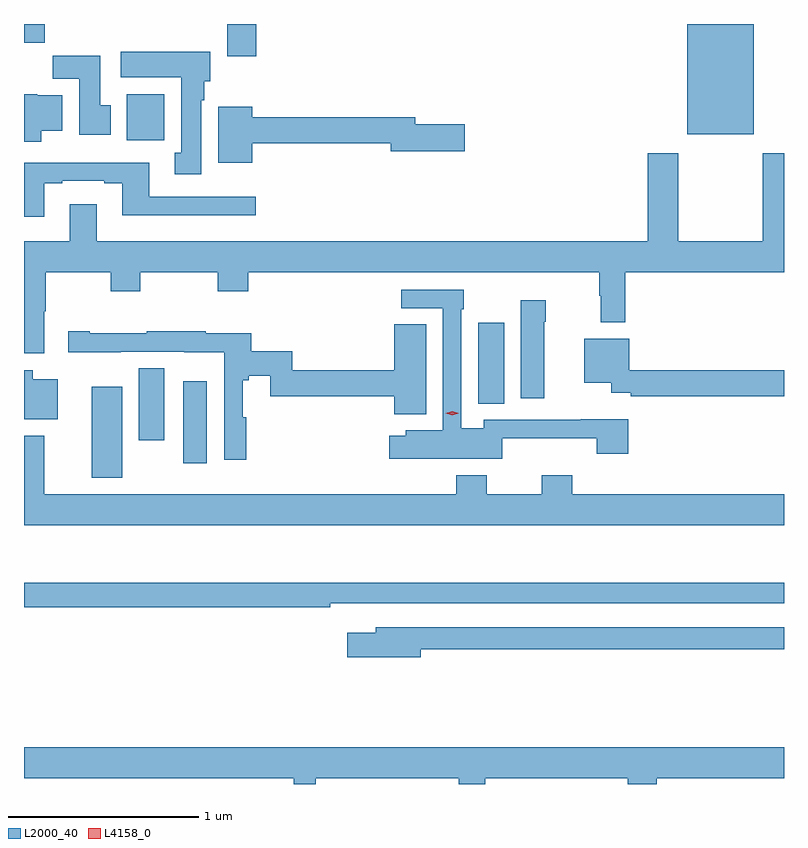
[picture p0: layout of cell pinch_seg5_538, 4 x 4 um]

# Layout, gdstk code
import gdstk
lib = gdstk.Library(unit=1e-6, precision=1e-09)
def R(c, l, rs):  # rectangles x0, y0, x1, y1
    for r in rs: c.add(gdstk.rectangle(r[:2], r[2:], *l))
def P(c, l, *ps):  # polygons
    for p in ps: c.add(gdstk.Polygon(p, *l))
L2000_40 = (2000, 40)
L4158_0 = (4158, 0)

pinch_seg5_538 = lib.new_cell('pinch_seg5_538')
R(pinch_seg5_538, L2000_40, [(952.313,849.018,952.474,849.499), (952.796,849.096,952.918,849.526), (952.562,849.216,952.696,849.596), (954.347,849.409,954.484,849.835), (952.499,850.796,952.696,851.038), (955.448,850.826,955.798,851.407), (953.027,851.238,953.18,851.407), (951.957,851.308,952.067,851.407)])
P(pinch_seg5_538, L2000_40, [(952.891,851.006),(952.906,851.006),(952.906,851.106),(952.936,851.106),(952.936,851.26),(952.467,851.26),(952.467,851.126),(952.784,851.126),(952.784,850.73),(952.751,850.73),(952.751,850.617),(952.891,850.617)],
  [(952.414,850.98),(952.357,850.98),(952.357,851.239),(952.108,851.239),(952.108,851.12),(952.247,851.12),(952.247,850.824),(952.414,850.824)],
  [(952.048,850.844),(952.159,850.844),(952.159,851.032),(952.026,851.032),(952.026,851.038),(951.957,851.038),(951.957,850.787),(952.048,850.787)],
  [(953.158,850.78),(953.888,850.78),(953.888,850.738),(954.277,850.738),(954.277,850.88),(954.016,850.88),(954.016,850.916),(953.158,850.916),(953.158,850.972),(952.979,850.972),(952.979,850.676),(953.158,850.676)],
  [(952.063,849.896),(952.071,849.896),(952.071,850.1),(952.414,850.1),(952.414,850.001),(952.569,850.001),(952.569,850.1),(952.978,850.1),(952.978,850.001),(953.138,850.001),(953.138,850.1),(954.985,850.1),(954.985,849.977),(954.993,849.977),(954.993,849.837),(955.121,849.837),(955.121,850.1),(955.957,850.1),(955.957,850.726),(955.846,850.726),(955.846,850.264),(955.401,850.264),(955.401,850.726),(955.241,850.726),(955.241,850.264),(952.339,850.264),(952.339,850.459),(952.199,850.459),(952.199,850.264),(951.957,850.264),(951.957,849.675),(952.063,849.675)],
  [(952.063,850.569),(952.159,850.569),(952.159,850.581),(952.379,850.581),(952.379,850.569),(952.475,850.569),(952.475,850.4),(953.176,850.4),(953.176,850.497),(952.615,850.497),(952.615,850.678),(951.957,850.678),(951.957,850.392),(952.063,850.392)],
  [(954.474,849.227),(954.971,849.227),(954.971,849.144),(955.136,849.144),(955.136,849.326),(954.887,849.326),(954.887,849.324),(954.378,849.324),(954.378,849.28),(954.258,849.28),(954.258,849.905),(954.271,849.905),(954.271,850.008),(953.943,850.008),(953.943,849.912),(954.162,849.912),(954.162,849.268),(953.967,849.268),(953.967,849.241),(953.88,849.241),(953.88,849.119),(954.474,849.119)],
  [(954.694,849.839),(954.702,849.839),(954.702,849.952),(954.572,849.952),(954.572,849.438),(954.694,849.438)],
  [(953.126,849.338),(953.107,849.338),(953.107,849.533),(953.14,849.533),(953.14,849.556),(953.253,849.556),(953.253,849.448),(953.906,849.448),(953.906,849.353),(954.073,849.353),(954.073,849.827),(953.906,849.827),(953.906,849.584),(953.369,849.584),(953.369,849.685),(953.153,849.685),(953.153,849.78),(952.913,849.78),(952.913,849.79),(952.603,849.79),(952.603,849.78),(952.303,849.78),(952.303,849.79),(952.191,849.79),(952.191,849.68),(952.466,849.68),(952.466,849.681),(952.8,849.681),(952.8,849.68),(953.01,849.68),(953.01,849.114),(953.126,849.114)],
  [(955.957,849.584),(955.143,849.584),(955.143,849.751),(954.905,849.751),(954.905,849.518),(955.047,849.518),(955.047,849.467),(955.15,849.467),(955.15,849.448),(955.957,849.448)],
  [(952.135,849.538),(952.002,849.538),(952.002,849.584),(951.957,849.584),(951.957,849.326),(952.135,849.326)],
  [(955.957,848.932),(954.842,848.932),(954.842,849.031),(954.682,849.031),(954.682,848.932),(954.393,848.932),(954.393,849.031),(954.233,849.031),(954.233,848.932),(952.063,848.932),(952.063,849.241),(951.957,849.241),(951.957,848.768),(955.957,848.768)],
  [(953.57,848.358),(955.957,848.358),(955.957,848.467),(951.957,848.467),(951.957,848.338),(953.57,848.338)],
  [(954.046,848.116),(955.957,848.116),(955.957,848.232),(953.807,848.232),(953.807,848.203),(953.658,848.203),(953.658,848.074),(954.046,848.074)],
  [(953.493,847.436),(954.245,847.436),(954.245,847.407),(954.384,847.407),(954.384,847.436),(955.134,847.436),(955.134,847.407),(955.286,847.407),(955.286,847.436),(955.957,847.436),(955.957,847.6),(951.957,847.6),(951.957,847.436),(953.377,847.436),(953.377,847.407),(953.493,847.407)])
P(pinch_seg5_538, L4158_0, [(954.21,849.348),(954.176,849.358),(954.175,849.358),(954.176,849.358),(954.21,849.368),(954.245,849.359),(954.245,849.359),(954.245,849.359)])

lib.write_gds('pinch_seg5_538.gds')
